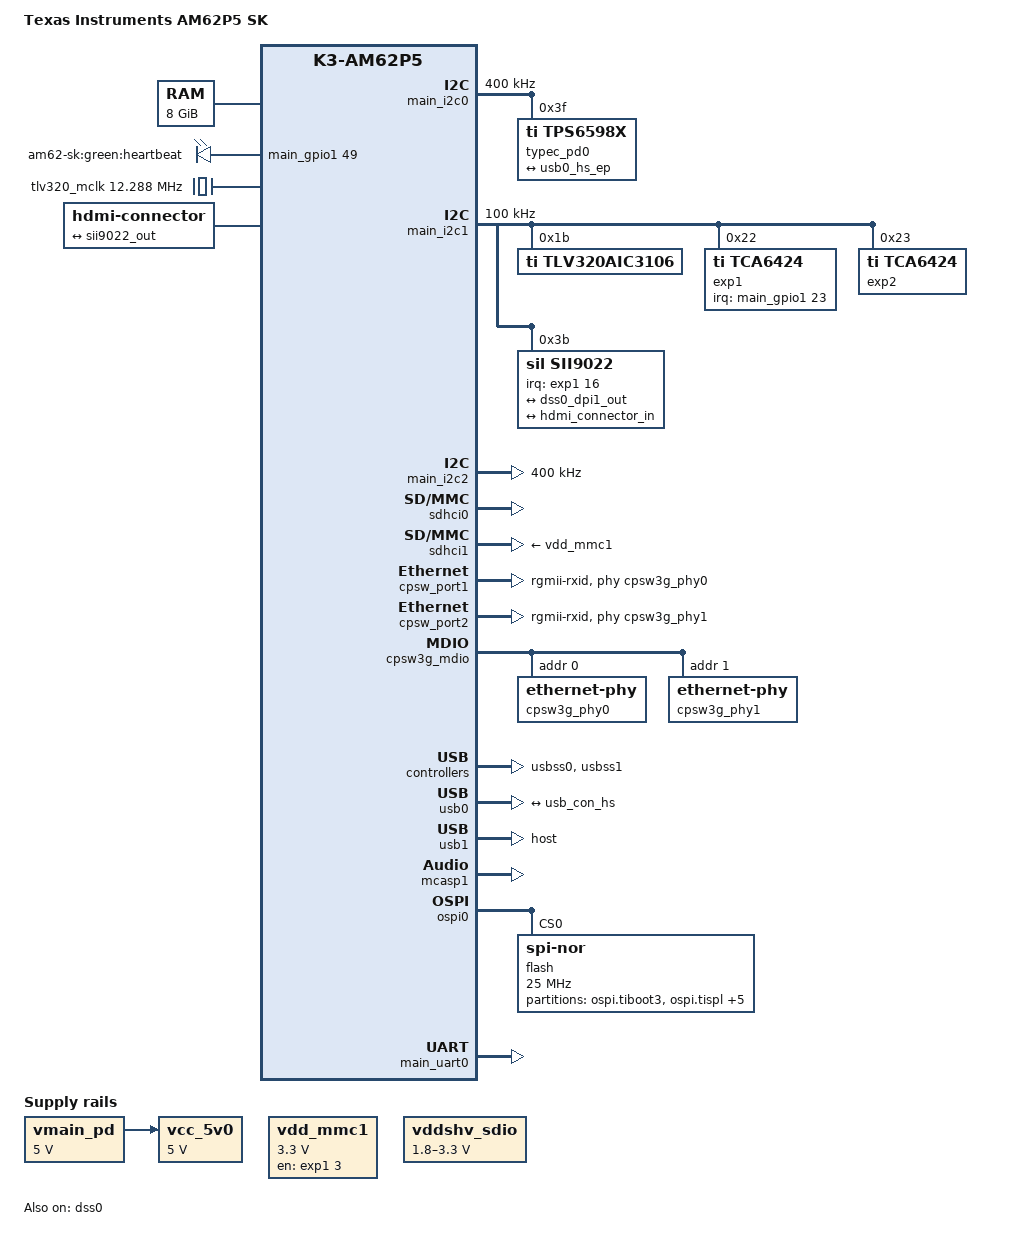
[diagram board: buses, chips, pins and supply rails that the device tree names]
// SPDX-License-Identifier: GPL-2.0
/*
 * Device Tree file for the AM62P5-SK
 * Copyright (C) 2023 Texas Instruments Incorporated - https://www.ti.com/
 *
 * Schematics: https://www.ti.com/lit/zip/sprr487
 */

/dts-v1/;

#include <dt-bindings/leds/common.h>
#include <dt-bindings/gpio/gpio.h>
#include <dt-bindings/net/ti-dp83867.h>
#include "k3-am62p5.dtsi"

/ {
	compatible = "ti,am62p5-sk", "ti,am62p5";
	model = "Texas Instruments AM62P5 SK";

	aliases {
		serial0 = &wkup_uart0;
		serial2 = &main_uart0;
		serial3 = &main_uart1;
		mmc0 = &sdhci0;
		mmc1 = &sdhci1;
		mmc2 = &sdhci2;
		spi0 = &ospi0;
		ethernet0 = &cpsw_port1;
		ethernet1 = &cpsw_port2;
		usb0 = &usb0;
		usb1 = &usb1;
	};

	chosen {
		stdout-path = &main_uart0;
	};

	memory@80000000 {
		/* 8G RAM */
		reg = <0x00000000 0x80000000 0x00000000 0x80000000>,
		      <0x00000008 0x80000000 0x00000001 0x80000000>;
		device_type = "memory";
		bootph-pre-ram;
	};

	reserved-memory {
		#address-cells = <2>;
		#size-cells = <2>;
		ranges;

		linux,cma {
			compatible = "shared-dma-pool";
			reusable;
			size = <0x00 0x24000000>;
			linux,cma-default;
		};

		secure_tfa_ddr: tfa@9e780000 {
			reg = <0x00 0x9e780000 0x00 0x80000>;
			no-map;
		};

		secure_ddr: optee@9e800000 {
			reg = <0x00 0x9e800000 0x00 0x01800000>; /* for OP-TEE */
			no-map;
		};

		wkup_r5fss0_core0_memory_region: r5f-dma-memory@9c900000 {
			compatible = "shared-dma-pool";
			reg = <0x00 0x9c900000 0x00 0x01e00000>;
			no-map;
		};
	};

	vmain_pd: regulator-0 {
		/* TPS65988 PD CONTROLLER OUTPUT */
		compatible = "regulator-fixed";
		regulator-name = "vmain_pd";
		regulator-min-microvolt = <5000000>;
		regulator-max-microvolt = <5000000>;
		regulator-always-on;
		regulator-boot-on;
		bootph-all;
	};

	vcc_5v0: regulator-1 {
		/* Output of TPS630702RNMR */
		compatible = "regulator-fixed";
		regulator-name = "vcc_5v0";
		regulator-min-microvolt = <5000000>;
		regulator-max-microvolt = <5000000>;
		vin-supply = <&vmain_pd>;
		regulator-always-on;
		regulator-boot-on;
		bootph-all;
	};

	vdd_mmc1: regulator-2 {
		/* TPS22918DBVR */
		compatible = "regulator-fixed";
		regulator-name = "vdd_mmc1";
		regulator-min-microvolt = <3300000>;
		regulator-max-microvolt = <3300000>;
		regulator-boot-on;
		enable-active-high;
		gpio = <&exp1 3 GPIO_ACTIVE_HIGH>;
		bootph-all;
	};

	vddshv_sdio: regulator-3 {
		compatible = "regulator-gpio";
		regulator-name = "vddshv_sdio";
		pinctrl-names = "default";
		pinctrl-0 = <&vddshv_sdio_pins_default>;
		regulator-min-microvolt = <1800000>;
		regulator-max-microvolt = <3300000>;
		regulator-boot-on;
		gpios = <&main_gpio0 31 GPIO_ACTIVE_HIGH>;
		states = <1800000 0x0>,
			 <3300000 0x1>;
		bootph-all;
	};

	leds {
		compatible = "gpio-leds";
		pinctrl-names = "default";
		pinctrl-0 = <&usr_led_pins_default>;

		led-0 {
			label = "am62-sk:green:heartbeat";
			gpios = <&main_gpio1 49 GPIO_ACTIVE_HIGH>;
			linux,default-trigger = "heartbeat";
			function = LED_FUNCTION_HEARTBEAT;
			default-state = "off";
		};
	};

	opp-table {
		/* Add 1.4GHz OPP for am62p5-sk board. Requires VDD_CORE at 0v85 */
		opp-1400000000 {
			opp-hz = /bits/ 64 <1400000000>;
			opp-supported-hw = <0x01 0x0004>;
			clock-latency-ns = <6000000>;
		};
	};

	tlv320_mclk: clk-0 {
		#clock-cells = <0>;
		compatible = "fixed-clock";
		clock-frequency = <12288000>;
	};

	codec_audio: sound {
		compatible = "simple-audio-card";
		simple-audio-card,name = "AM62x-SKEVM";
		simple-audio-card,widgets =
			"Headphone",	"Headphone Jack",
			"Line",		"Line In",
			"Microphone",	"Microphone Jack";
		simple-audio-card,routing =
			"Headphone Jack",	"HPLOUT",
			"Headphone Jack",	"HPROUT",
			"LINE1L",		"Line In",
			"LINE1R",		"Line In",
			"MIC3R",		"Microphone Jack",
			"Microphone Jack",	"Mic Bias";
		simple-audio-card,format = "dsp_b";
		simple-audio-card,bitclock-master = <&sound_master>;
		simple-audio-card,frame-master = <&sound_master>;
		simple-audio-card,bitclock-inversion;

		simple-audio-card,cpu {
			sound-dai = <&mcasp1>;
		};

		sound_master: simple-audio-card,codec {
			sound-dai = <&tlv320aic3106>;
			clocks = <&tlv320_mclk>;
		};
	};

	hdmi0: connector-hdmi {
		compatible = "hdmi-connector";
		label = "hdmi";
		type = "a";
		port {
			hdmi_connector_in: endpoint {
				remote-endpoint = <&sii9022_out>;
			};
		};
	};
};

&main_gpio0 {
	bootph-all;
};

&main_gpio1 {
	bootph-all;
};

&main_pmx0 {
	bootph-all;

	main_i2c0_pins_default: main-i2c0-default-pins {
		pinctrl-single,pins = <
			AM62PX_IOPAD(0x01e0, PIN_INPUT_PULLUP, 0) /* (B25) I2C0_SCL */
			AM62PX_IOPAD(0x01e4, PIN_INPUT_PULLUP, 0) /* (A24) I2C0_SDA */
		>;
	};

	main_i2c1_pins_default: main-i2c1-default-pins {
		pinctrl-single,pins = <
			AM62PX_IOPAD(0x01e8, PIN_INPUT_PULLUP, 0) /* (C24) I2C1_SCL */
			AM62PX_IOPAD(0x01ec, PIN_INPUT_PULLUP, 0) /* (B24) I2C1_SDA */
		>;
		bootph-all;
	};

	main_i2c2_pins_default: main-i2c2-default-pins {
		pinctrl-single,pins = <
			AM62PX_IOPAD(0x00b0, PIN_INPUT_PULLUP, 1) /* (T22) GPMC0_CSn2.I2C2_SCL */
			AM62PX_IOPAD(0x00b4, PIN_INPUT_PULLUP, 1) /* (U25) GPMC0_CSn3.I2C2_SDA */
		>;
	};

	main_gpio1_ioexp_intr_pins_default: main-gpio1-ioexp-intr-default-pins {
		pinctrl-single,pins = <
			AM62PX_IOPAD(0x01d4, PIN_INPUT, 7) /* (C22) UART0_RTSn.GPIO1_23 */
		>;
	};

	main_mcasp1_pins_default: main-mcasp1-default-pins {
		pinctrl-single,pins = <
			AM62PX_IOPAD(0x0090, PIN_INPUT, 2) /* (U24) GPMC0_BE0n_CLE.MCASP1_ACLKX */
			AM62PX_IOPAD(0x0098, PIN_INPUT, 2) /* (AA24) GPMC0_WAIT0.MCASP1_AFSX */
			AM62PX_IOPAD(0x008c, PIN_OUTPUT, 2) /* (T25) GPMC0_WEn.MCASP1_AXR0 */
			AM62PX_IOPAD(0x0084, PIN_INPUT, 2) /* (R25) GPMC0_ADVn_ALE.MCASP1_AXR2 */
		>;
	};

	main_mdio1_pins_default: main-mdio1-default-pins {
		pinctrl-single,pins = <
			AM62PX_IOPAD(0x0160, PIN_OUTPUT, 0) /* (F17) MDIO0_MDC */
			AM62PX_IOPAD(0x015c, PIN_INPUT, 0) /* (F16) MDIO0_MDIO */
		>;
	};

	main_mmc1_pins_default: main-mmc1-default-pins {
		pinctrl-single,pins = <
			AM62PX_IOPAD(0x023c, PIN_INPUT, 0) /* (H20) MMC1_CMD */
			AM62PX_IOPAD(0x0234, PIN_OUTPUT, 0) /* (J24) MMC1_CLK */
			AM62PX_IOPAD(0x0230, PIN_INPUT, 0) /* (H21) MMC1_DAT0 */
			AM62PX_IOPAD(0x022c, PIN_INPUT_PULLUP, 0) /* (H23) MMC1_DAT1 */
			AM62PX_IOPAD(0x0228, PIN_INPUT_PULLUP, 0) /* (H22) MMC1_DAT2 */
			AM62PX_IOPAD(0x0224, PIN_INPUT_PULLUP, 0) /* (H25) MMC1_DAT3 */
			AM62PX_IOPAD(0x0240, PIN_INPUT, 0) /* (D23) MMC1_SDCD */
		>;
		bootph-all;
	};

	main_mmc2_pins_default: main-mmc2-default-pins {
		pinctrl-single,pins = <
			AM62PX_IOPAD(0x0120, PIN_INPUT, 0) /* (K24) MMC2_CMD */
			AM62PX_IOPAD(0x0118, PIN_OUTPUT, 0) /* (K21) MMC2_CLK */
			AM62PX_IOPAD(0x011C, PIN_INPUT, 0) /* () MMC2_CLKLB */
			AM62PX_IOPAD(0x0114, PIN_INPUT, 0) /* (K23) MMC2_DAT0 */
			AM62PX_IOPAD(0x0110, PIN_INPUT_PULLUP, 0) /* (K22) MMC2_DAT1 */
			AM62PX_IOPAD(0x010c, PIN_INPUT_PULLUP, 0) /* (L20) MMC2_DAT2 */
			AM62PX_IOPAD(0x0108, PIN_INPUT_PULLUP, 0) /* (L21) MMC2_DAT3 */
		>;
		bootph-all;
	};

	main_rgmii1_pins_default: main-rgmii1-default-pins {
		pinctrl-single,pins = <
			AM62PX_IOPAD(0x014c, PIN_INPUT, 0) /* (B15) RGMII1_RD0 */
			AM62PX_IOPAD(0x0150, PIN_INPUT, 0) /* (B16) RGMII1_RD1 */
			AM62PX_IOPAD(0x0154, PIN_INPUT, 0) /* (A14) RGMII1_RD2 */
			AM62PX_IOPAD(0x0158, PIN_INPUT, 0) /* (B14) RGMII1_RD3 */
			AM62PX_IOPAD(0x0148, PIN_INPUT, 0) /* (A16) RGMII1_RXC */
			AM62PX_IOPAD(0x0144, PIN_INPUT, 0) /* (A15) RGMII1_RX_CTL */
			AM62PX_IOPAD(0x0134, PIN_INPUT, 0) /* (A18) RGMII1_TD0 */
			AM62PX_IOPAD(0x0138, PIN_INPUT, 0) /* (C17) RGMII1_TD1 */
			AM62PX_IOPAD(0x013c, PIN_INPUT, 0) /* (A17) RGMII1_TD2 */
			AM62PX_IOPAD(0x0140, PIN_INPUT, 0) /* (C16) RGMII1_TD3 */
			AM62PX_IOPAD(0x0130, PIN_INPUT, 0) /* (B17) RGMII1_TXC */
			AM62PX_IOPAD(0x012c, PIN_INPUT, 0) /* (B18) RGMII1_TX_CTL */
		>;
		bootph-all;
	};

	main_rgmii2_pins_default: main-rgmii2-default-pins {
		pinctrl-single,pins = <
			AM62PX_IOPAD(0x0184, PIN_INPUT, 0) /* (E19) RGMII2_RD0 */
			AM62PX_IOPAD(0x0188, PIN_INPUT, 0) /* (E16) RGMII2_RD1 */
			AM62PX_IOPAD(0x018c, PIN_INPUT, 0) /* (E17) RGMII2_RD2 */
			AM62PX_IOPAD(0x0190, PIN_INPUT, 0) /* (C19) RGMII2_RD3 */
			AM62PX_IOPAD(0x0180, PIN_INPUT, 0) /* (D19) RGMII2_RXC */
			AM62PX_IOPAD(0x017c, PIN_INPUT, 0) /* (F19) RGMII2_RX_CTL */
			AM62PX_IOPAD(0x016c, PIN_INPUT, 0) /* (B19) RGMII2_TD0 */
			AM62PX_IOPAD(0x0170, PIN_INPUT, 0) /* (A21) RGMII2_TD1 */
			AM62PX_IOPAD(0x0174, PIN_INPUT, 0) /* (D17) RGMII2_TD2 */
			AM62PX_IOPAD(0x0178, PIN_INPUT, 0) /* (A19) RGMII2_TD3 */
			AM62PX_IOPAD(0x0168, PIN_INPUT, 0) /* (D16) RGMII2_TXC */
			AM62PX_IOPAD(0x0164, PIN_INPUT, 0) /* (A20) RGMII2_TX_CTL */
		>;
		bootph-all;
	};

	main_uart0_pins_default: main-uart0-default-pins {
		pinctrl-single,pins = <
			AM62PX_IOPAD(0x1c8, PIN_INPUT, 0)	/* (A22) UART0_RXD */
			AM62PX_IOPAD(0x1cc, PIN_OUTPUT, 0)	/* (B22) UART0_TXD */
		>;
		bootph-all;
	};

	main_uart1_pins_default: main-uart1-default-pins {
		pinctrl-single,pins = <
			AM62PX_IOPAD(0x0194, PIN_INPUT, 2) /* (D25) MCASP0_AXR3.UART1_CTSn */
			AM62PX_IOPAD(0x0198, PIN_OUTPUT, 2) /* (E25) MCASP0_AXR2.UART1_RTSn */
			AM62PX_IOPAD(0x01ac, PIN_INPUT, 2) /* (G23) MCASP0_AFSR.UART1_RXD */
			AM62PX_IOPAD(0x01b0, PIN_OUTPUT, 2) /* (G20) MCASP0_ACLKR.UART1_TXD */
		>;
		bootph-all;
	};

	main_usb1_pins_default: main-usb1-default-pins {
		pinctrl-single,pins = <
			AM62PX_IOPAD(0x0258, PIN_INPUT, 0) /* (G21) USB1_DRVVBUS */
		>;
	};

	main_wlirq_pins_default: main-wlirq-default-pins {
		pinctrl-single,pins = <
			AM62PX_IOPAD(0x0128, PIN_INPUT, 7) /* (K25) MMC2_SDWP.GPIO0_72 */
		>;
	};

	ospi0_pins_default: ospi0-default-pins {
		pinctrl-single,pins = <
			AM62PX_IOPAD(0x0000, PIN_OUTPUT, 0) /* (P23) OSPI0_CLK */
			AM62PX_IOPAD(0x002c, PIN_OUTPUT, 0) /* (M25) OSPI0_CSn0 */
			AM62PX_IOPAD(0x000c, PIN_INPUT, 0) /* (L25) OSPI0_D0 */
			AM62PX_IOPAD(0x0010, PIN_INPUT, 0) /* (N24) OSPI0_D1 */
			AM62PX_IOPAD(0x0014, PIN_INPUT, 0) /* (N25) OSPI0_D2 */
			AM62PX_IOPAD(0x0018, PIN_INPUT, 0) /* (M24) OSPI0_D3 */
			AM62PX_IOPAD(0x001c, PIN_INPUT, 0) /* (N21) OSPI0_D4 */
			AM62PX_IOPAD(0x0020, PIN_INPUT, 0) /* (N22) OSPI0_D5 */
			AM62PX_IOPAD(0x0024, PIN_INPUT, 0) /* (P21) OSPI0_D6 */
			AM62PX_IOPAD(0x0028, PIN_INPUT, 0) /* (N20) OSPI0_D7 */
			AM62PX_IOPAD(0x0008, PIN_INPUT, 0) /* (P22) OSPI0_DQS */
		>;
		bootph-all;
	};

	usr_led_pins_default: usr-led-default-pins {
		pinctrl-single,pins = <
			AM62PX_IOPAD(0x0244, PIN_INPUT, 7) /* (D24) MMC1_SDWP.GPIO1_49 */
		>;
	};

	vddshv_sdio_pins_default: vddshvr-sdio-default-pins {
		pinctrl-single,pins = <
			AM62PX_IOPAD(0x007c, PIN_INPUT, 7) /* (Y25) GPMC0_CLK.GPIO0_31 */
		>;
		bootph-all;
	};

	wlan_en_pins_default: wlan-en-default-pins {
		pinctrl-single,pins = <
			AM62PX_IOPAD(0x0124, PIN_INPUT, 7) /* (J25) MMC2_SDCD.GPIO0_71 */
		>;
	};

	main_dpi_pins_default: main-dpi-default-pins {
		pinctrl-single,pins = <
			AM62PX_IOPAD(0x0100, PIN_OUTPUT, 0) /* (W20) VOUT0_VSYNC */
			AM62PX_IOPAD(0x00f8, PIN_OUTPUT, 0) /* (AC20) VOUT0_HSYNC */
			AM62PX_IOPAD(0x0104, PIN_OUTPUT, 0) /* (Y21) VOUT0_PCLK */
			AM62PX_IOPAD(0x00fc, PIN_OUTPUT, 0) /* (W21) VOUT0_DE */
			AM62PX_IOPAD(0x00b8, PIN_OUTPUT, 0) /* (AE24) VOUT0_DATA0 */
			AM62PX_IOPAD(0x00bc, PIN_OUTPUT, 0) /* (W23) VOUT0_DATA1 */
			AM62PX_IOPAD(0x00c0, PIN_OUTPUT, 0) /* (AA23) VOUT0_DATA2 */
			AM62PX_IOPAD(0x00c4, PIN_OUTPUT, 0) /* (Y23) VOUT0_DATA3 */
			AM62PX_IOPAD(0x00c8, PIN_OUTPUT, 0) /* (AB23) VOUT0_DATA4 */
			AM62PX_IOPAD(0x00cc, PIN_OUTPUT, 0) /* (AD23) VOUT0_DATA5 */
			AM62PX_IOPAD(0x00d0, PIN_OUTPUT, 0) /* (AC23) VOUT0_DATA6 */
			AM62PX_IOPAD(0x00d4, PIN_OUTPUT, 0) /* (AE23) VOUT0_DATA7 */
			AM62PX_IOPAD(0x00d8, PIN_OUTPUT, 0) /* (AE22) VOUT0_DATA8 */
			AM62PX_IOPAD(0x00dc, PIN_OUTPUT, 0) /* (AC22) VOUT0_DATA9 */
			AM62PX_IOPAD(0x00e0, PIN_OUTPUT, 0) /* (W22) VOUT0_DATA10 */
			AM62PX_IOPAD(0x00e4, PIN_OUTPUT, 0) /* (AE21) VOUT0_DATA11 */
			AM62PX_IOPAD(0x00e8, PIN_OUTPUT, 0) /* (AD21) VOUT0_DATA12 */
			AM62PX_IOPAD(0x00ec, PIN_OUTPUT, 0) /* (AC21) VOUT0_DATA13 */
			AM62PX_IOPAD(0x00f0, PIN_OUTPUT, 0) /* (AA20) VOUT0_DATA14 */
			AM62PX_IOPAD(0x00f4, PIN_OUTPUT, 0) /* (Y20) VOUT0_DATA15 */
			AM62PX_IOPAD(0x005c, PIN_OUTPUT, 1) /* (AC25) GPMC0_AD8.VOUT0_DATA16 */
			AM62PX_IOPAD(0x0060, PIN_OUTPUT, 1) /* (AB25) GPMC0_AD9.VOUT0_DATA17 */
			AM62PX_IOPAD(0x0064, PIN_OUTPUT, 1) /* (AA25) GPMC0_AD10.VOUT0_DATA18 */
			AM62PX_IOPAD(0x0068, PIN_OUTPUT, 1) /* (W24) GPMC0_AD11.VOUT0_DATA19 */
			AM62PX_IOPAD(0x006c, PIN_OUTPUT, 1) /* (Y24) GPMC0_AD12.VOUT0_DATA20 */
			AM62PX_IOPAD(0x0070, PIN_OUTPUT, 1) /* (AD25) GPMC0_AD13.VOUT0_DATA21 */
			AM62PX_IOPAD(0x0074, PIN_OUTPUT, 1) /* (AB24) GPMC0_AD14.VOUT0_DATA22 */
			AM62PX_IOPAD(0x0078, PIN_OUTPUT, 1) /* (AC24) GPMC0_AD15.VOUT0_DATA23 */
			AM62PX_IOPAD(0x009c, PIN_OUTPUT, 1) /* (AD24) GPMC0_WAIT1.VOUT0_EXTPCLKIN */
		>;
	};
};

&main_i2c0 {
	status = "okay";
	pinctrl-names = "default";
	pinctrl-0 = <&main_i2c0_pins_default>;
	clock-frequency = <400000>;

	typec_pd0: usb-power-controller@3f {
		compatible = "ti,tps6598x";
		reg = <0x3f>;

		connector {
			compatible = "usb-c-connector";
			label = "USB-C";
			self-powered;
			data-role = "dual";
			power-role = "sink";
			ports {
				#address-cells = <1>;
				#size-cells = <0>;
				port@0 {
					reg = <0>;
					usb_con_hs: endpoint {
						remote-endpoint = <&usb0_hs_ep>;
					};
				};
			};
		};
	};
};

&main_i2c1 {
	status = "okay";
	pinctrl-names = "default";
	pinctrl-0 = <&main_i2c1_pins_default>;
	clock-frequency = <100000>;
	bootph-all;

	tlv320aic3106: audio-codec@1b {
		#sound-dai-cells = <0>;
		compatible = "ti,tlv320aic3106";
		reg = <0x1b>;
		ai3x-micbias-vg = <1>;  /* 2.0V */
	};

	exp1: gpio@22 {
		compatible = "ti,tca6424";
		reg = <0x22>;
		gpio-controller;
		#gpio-cells = <2>;
		gpio-line-names = "OLDI_INT#", "x8_NAND_DETECT",
				   "UART1_FET_SEL", "MMC1_SD_EN",
				   "VPP_EN", "EXP_PS_3V3_EN",
				   "UART1_FET_BUF_EN", "EXP_HAT_DETECT",
				   "DSI_GPIO0", "DSI_GPIO1",
				   "OLDI_EDID", "BT_UART_WAKE_SOC_3V3",
				   "USB_TYPEA_OC_INDICATION", "CSI_GPIO0",
				   "CSI_GPIO1", "WLAN_ALERTn",
				   "HDMI_INTn", "TEST_GPIO2",
				   "MCASP1_FET_EN", "MCASP1_BUF_BT_EN",
				   "MCASP1_FET_SEL", "DSI_EDID",
				   "PD_I2C_IRQ", "IO_EXP_TEST_LED";

		interrupt-parent = <&main_gpio1>;
		interrupts = <23 IRQ_TYPE_EDGE_FALLING>;
		interrupt-controller;
		#interrupt-cells = <2>;

		pinctrl-names = "default";
		pinctrl-0 = <&main_gpio1_ioexp_intr_pins_default>;
		bootph-all;
	};

	exp2: gpio@23 {
		compatible = "ti,tca6424";
		reg = <0x23>;
		gpio-controller;
		#gpio-cells = <2>;
		gpio-line-names = "BT_EN_SOC", "EXP_PS_5V0_EN",
				   "", "",
				   "", "",
				   "", "",
				   "WL_LT_EN", "",
				   "TP3", "TP6",
				   "TP4", "TP7",
				   "TP5", "TP8",
				   "SoC_I2C2_MCAN_SEL", "GPIO_HDMI_RSTn",
				   "GPIO_CPSW2_RST", "GPIO_CPSW1_RST",
				   "GPIO_OLDI_RSTn", "GPIO_AUD_RSTn",
				   "GPIO_eMMC_RSTn", "SoC_WLAN_SDIO_RST";
	};

	sii9022: bridge-hdmi@3b {
		compatible = "sil,sii9022";
		reg = <0x3b>;
		interrupt-parent = <&exp1>;
		interrupts = <16 IRQ_TYPE_EDGE_FALLING>;
		#sound-dai-cells = <0>;
		sil,i2s-data-lanes = < 0 >;

		hdmi_tx_ports: ports {
			#address-cells = <1>;
			#size-cells = <0>;

			/*
			 * HDMI can be serviced with 3 potential VPs -
			 * (DSS0 VP1 / DSS1 VP0 / DSS1 VP1).
			 * For now, we will service it with DSS0 VP1.
			 */
			port@0 {
				reg = <0>;

				sii9022_in: endpoint {
					remote-endpoint = <&dss0_dpi1_out>;
				};
			};

			port@1 {
				reg = <1>;

				sii9022_out: endpoint {
					remote-endpoint = <&hdmi_connector_in>;
				};
			};
		};
	};
};

&main_i2c2 {
	status = "okay";
	pinctrl-names = "default";
	pinctrl-0 = <&main_i2c2_pins_default>;
	clock-frequency = <400000>;
};

&sdhci0 {
	status = "okay";
	ti,driver-strength-ohm = <50>;
	disable-wp;
	bootph-all;
};

&sdhci1 {
	/* SD/MMC */
	status = "okay";
	vmmc-supply = <&vdd_mmc1>;
	vqmmc-supply = <&vddshv_sdio>;
	pinctrl-names = "default";
	pinctrl-0 = <&main_mmc1_pins_default>;
	disable-wp;
	bootph-all;
};

&cpsw3g {
	pinctrl-names = "default";
	pinctrl-0 = <&main_rgmii1_pins_default>,
		    <&main_rgmii2_pins_default>;
};

&cpsw_port1 {
	phy-mode = "rgmii-rxid";
	phy-handle = <&cpsw3g_phy0>;
};

&cpsw_port2 {
	phy-mode = "rgmii-rxid";
	phy-handle = <&cpsw3g_phy1>;
};

&cpsw3g_mdio {
	pinctrl-names = "default";
	pinctrl-0 = <&main_mdio1_pins_default>;
	status = "okay";

	cpsw3g_phy0: ethernet-phy@0 {
		reg = <0>;
		ti,rx-internal-delay = <DP83867_RGMIIDCTL_2_00_NS>;
		ti,fifo-depth = <DP83867_PHYCR_FIFO_DEPTH_4_B_NIB>;
		ti,min-output-impedance;
	};

	cpsw3g_phy1: ethernet-phy@1 {
		reg = <1>;
		ti,rx-internal-delay = <DP83867_RGMIIDCTL_2_00_NS>;
		ti,fifo-depth = <DP83867_PHYCR_FIFO_DEPTH_4_B_NIB>;
		ti,min-output-impedance;
	};
};

&usbss0 {
	status = "okay";
	ti,vbus-divider;
};

&usbss1 {
	status = "okay";
	ti,vbus-divider;
};

&usb0 {
	usb-role-switch;
	#address-cells = <1>;
	#size-cells = <0>;

	port@0 {
		reg = <0>;
		usb0_hs_ep: endpoint {
			remote-endpoint = <&usb_con_hs>;
		};
	};
};

&usb1 {
	dr_mode = "host";
	pinctrl-names = "default";
	pinctrl-0 = <&main_usb1_pins_default>;
};

&mcasp1 {
	status = "okay";
	#sound-dai-cells = <0>;

	pinctrl-names = "default";
	pinctrl-0 = <&main_mcasp1_pins_default>;

	op-mode = <0>;          /* MCASP_IIS_MODE */
	tdm-slots = <2>;

	serial-dir = <  /* 0: INACTIVE, 1: TX, 2: RX */
	       1 0 2 0
	       0 0 0 0
	       0 0 0 0
	       0 0 0 0
	>;
	tx-num-evt = <0>;
	rx-num-evt = <0>;
};

&fss {
	bootph-all;
};

&ospi0 {
	status = "okay";
	pinctrl-names = "default";
	pinctrl-0 = <&ospi0_pins_default>;
	bootph-all;

	flash@0{
		compatible = "jedec,spi-nor";
		reg = <0x0>;
		spi-tx-bus-width = <8>;
		spi-rx-bus-width = <8>;
		spi-max-frequency = <25000000>;
		cdns,tshsl-ns = <60>;
		cdns,tsd2d-ns = <60>;
		cdns,tchsh-ns = <60>;
		cdns,tslch-ns = <60>;
		cdns,read-delay = <4>;
		bootph-all;

		partitions {
			compatible = "fixed-partitions";
			#address-cells = <1>;
			#size-cells = <1>;
			bootph-all;

			partition@0 {
				label = "ospi.tiboot3";
				reg = <0x00 0x80000>;
			};

			partition@80000 {
				label = "ospi.tispl";
				reg = <0x80000 0x200000>;
			};

			partition@280000 {
				label = "ospi.u-boot";
				reg = <0x280000 0x400000>;
			};

			partition@680000 {
				label = "ospi.env";
				reg = <0x680000 0x40000>;
			};

			partition@6c0000 {
				label = "ospi.env.backup";
				reg = <0x6c0000 0x40000>;
			};

			partition@800000 {
				label = "ospi.rootfs";
				reg = <0x800000 0x37c0000>;
			};

			partition@3fc0000 {
				label = "ospi.phypattern";
				reg = <0x3fc0000 0x40000>;
				bootph-all;
			};
		};
	};
};

&mailbox0_cluster0 {
	mbox_r5_0: mbox-r5-0 {
		ti,mbox-rx = <0 0 0>;
		ti,mbox-tx = <1 0 0>;
	};
};

&mailbox0_cluster1 {
	mbox_mcu_r5_0: mbox-mcu-r5-0 {
		ti,mbox-rx = <0 0 0>;
		ti,mbox-tx = <1 0 0>;
	};
};

&main_uart0 {
	pinctrl-names = "default";
	pinctrl-0 = <&main_uart0_pins_default>;
	interrupts-extended = <&gic500 GIC_SPI 178 IRQ_TYPE_LEVEL_HIGH>,
			<&main_pmx0 0x1c8>; /* (D14) UART0_RXD PADCONFIG114 */
	interrupt-names = "irq", "wakeup";
	status = "okay";
	bootph-all;
};

&main_uart1 {
	pinctrl-names = "default";
	pinctrl-0 = <&main_uart1_pins_default>;
	/* Main UART1 is used by TIFS firmware */
	status = "reserved";
	bootph-all;
};

&mcu_pmx0 {
	bootph-all;

	wkup_uart0_pins_default: wkup-uart0-default-pins {
		pinctrl-single,pins = <
			AM62PX_MCU_IOPAD(0x024, PIN_INPUT, 0)	/* (D8) WKUP_UART0_RXD */
			AM62PX_MCU_IOPAD(0x028, PIN_OUTPUT, 0)	/* (D7) WKUP_UART0_TXD */
		>;
		bootph-all;
	};
};

&wkup_uart0 {
	/* WKUP UART0 is used by DM firmware */
	pinctrl-names = "default";
	pinctrl-0 = <&wkup_uart0_pins_default>;
	status = "reserved";
	bootph-all;
};

/* mcu_gpio0 and mcu_gpio_intr are reserved for mcu firmware usage */
&mcu_gpio0 {
	status = "reserved";
};

&mcu_gpio_intr {
	status = "reserved";
};

&dss_oldi_io_ctrl {
	bootph-all;
};

&dss0 {
	bootph-all;
	status = "okay";
	pinctrl-names = "default";
	pinctrl-0 = <&main_dpi_pins_default>;
};

&dss0_ports {
	/* DSS0-VP2: DPI/HDMI Output */
	port@1 {
		reg = <1>;

		dss0_dpi1_out: endpoint {
			remote-endpoint = <&sii9022_in>;
		};
	};
};
